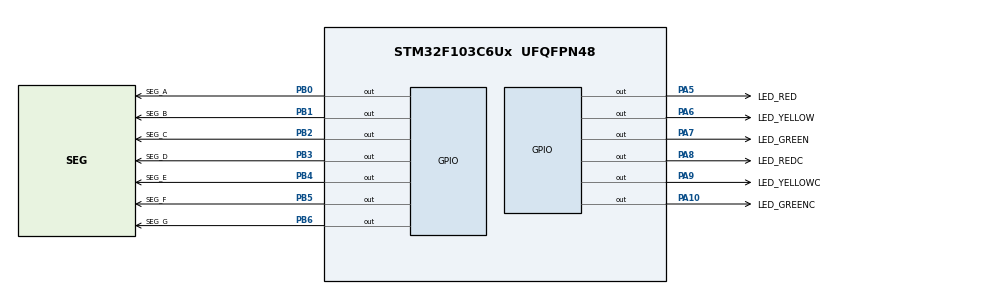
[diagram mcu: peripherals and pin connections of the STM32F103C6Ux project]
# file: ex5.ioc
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Mcu.Family=STM32F1
Mcu.Name=STM32F103C6Ux
Mcu.Package=UFQFPN48
NVIC.PriorityGroup=NVIC_PRIORITYGROUP_4
PA10.GPIO_Label=LED_GREENC
PA10.Signal=GPIO_Output
PA5.GPIO_Label=LED_RED
PA5.Signal=GPIO_Output
PA6.GPIO_Label=LED_YELLOW
PA6.Signal=GPIO_Output
PA7.GPIO_Label=LED_GREEN
PA7.Signal=GPIO_Output
PA8.GPIO_Label=LED_REDC
PA8.Signal=GPIO_Output
PA9.GPIO_Label=LED_YELLOWC
PA9.Signal=GPIO_Output
PB0.GPIO_Label=SEG_A
PB0.Signal=GPIO_Output
PB1.GPIO_Label=SEG_B
PB1.Signal=GPIO_Output
PB2.GPIO_Label=SEG_C
PB2.Signal=GPIO_Output
PB3.GPIO_Label=SEG_D
PB3.Signal=GPIO_Output
PB4.GPIO_Label=SEG_E
PB4.Signal=GPIO_Output
PB5.GPIO_Label=SEG_F
PB5.Signal=GPIO_Output
PB6.GPIO_Label=SEG_G
PB6.Signal=GPIO_Output
ProjectManager.HeapSize=0x200
ProjectManager.StackSize=0x400
ProjectManager.TargetToolchain=STM32CubeIDE
RCC.APB1Freq_Value=8000000
RCC.APB2Freq_Value=8000000
VP_SYS_VS_ND.Mode=No_Debug
board=custom

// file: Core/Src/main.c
/* USER CODE BEGIN Header */
/**
  ******************************************************************************
  * @file           : main.c
  * @brief          : Main program body
  ******************************************************************************
  * @attention
  *
  * <h2><center>&copy; Copyright (c) 2022 STMicroelectronics.
  * All rights reserved.</center></h2>
  *
  * This software component is licensed by ST under BSD 3-Clause license,
  * the "License"; You may not use this file except in compliance with the
  * License. You may obtain a copy of the License at:
  *                        opensource.org/licenses/BSD-3-Clause
  *
  ******************************************************************************
  */
/* USER CODE END Header */
#include "main.h"

void SystemClock_Config(void);
static void MX_GPIO_Init(void);

/* USER CODE BEGIN 0 */
void display7SEG(int num) {
	//num is the time displayed on the 7-segment led
	if (num == 0)
			{
		HAL_GPIO_WritePin(SEG_A_GPIO_Port, SEG_A_Pin, RESET);
		HAL_GPIO_WritePin(SEG_B_GPIO_Port, SEG_B_Pin, RESET);
		HAL_GPIO_WritePin(SEG_C_GPIO_Port, SEG_C_Pin, RESET);
		HAL_GPIO_WritePin(SEG_D_GPIO_Port, SEG_D_Pin, RESET);
		HAL_GPIO_WritePin(SEG_E_GPIO_Port, SEG_E_Pin, RESET);
		HAL_GPIO_WritePin(SEG_F_GPIO_Port, SEG_F_Pin, RESET);
		HAL_GPIO_WritePin(SEG_G_GPIO_Port, SEG_G_Pin, SET);
	}
	if (num == 1) {
		HAL_GPIO_WritePin(SEG_A_GPIO_Port, SEG_A_Pin, SET);
		HAL_GPIO_WritePin(SEG_B_GPIO_Port, SEG_B_Pin, RESET);
		HAL_GPIO_WritePin(SEG_C_GPIO_Port, SEG_C_Pin, RESET);
		HAL_GPIO_WritePin(SEG_D_GPIO_Port, SEG_D_Pin, SET);
		HAL_GPIO_WritePin(SEG_E_GPIO_Port, SEG_E_Pin, SET);
		HAL_GPIO_WritePin(SEG_F_GPIO_Port, SEG_F_Pin, SET);
		HAL_GPIO_WritePin(SEG_G_GPIO_Port, SEG_G_Pin, SET);
	}
	if (num == 2) {
		HAL_GPIO_WritePin(SEG_A_GPIO_Port, SEG_A_Pin, RESET);
		HAL_GPIO_WritePin(SEG_B_GPIO_Port, SEG_B_Pin, RESET);
		HAL_GPIO_WritePin(SEG_C_GPIO_Port, SEG_C_Pin, SET);
		HAL_GPIO_WritePin(SEG_D_GPIO_Port, SEG_D_Pin, RESET);
		HAL_GPIO_WritePin(SEG_E_GPIO_Port, SEG_E_Pin, RESET);
		HAL_GPIO_WritePin(SEG_F_GPIO_Port, SEG_F_Pin, SET);
		HAL_GPIO_WritePin(SEG_G_GPIO_Port, SEG_G_Pin, RESET);
	}
	if (num == 3) {
		HAL_GPIO_WritePin(SEG_A_GPIO_Port, SEG_A_Pin, RESET);
		HAL_GPIO_WritePin(SEG_B_GPIO_Port, SEG_B_Pin, RESET);
		HAL_GPIO_WritePin(SEG_C_GPIO_Port, SEG_C_Pin, RESET);
		HAL_GPIO_WritePin(SEG_D_GPIO_Port, SEG_D_Pin, RESET);
		HAL_GPIO_WritePin(SEG_E_GPIO_Port, SEG_E_Pin, SET);
		HAL_GPIO_WritePin(SEG_F_GPIO_Port, SEG_F_Pin, SET);
		HAL_GPIO_WritePin(SEG_G_GPIO_Port, SEG_G_Pin, RESET);
	}
	if (num == 4) {
		HAL_GPIO_WritePin(SEG_A_GPIO_Port, SEG_A_Pin, SET);
		HAL_GPIO_WritePin(SEG_B_GPIO_Port, SEG_B_Pin, RESET);
		HAL_GPIO_WritePin(SEG_C_GPIO_Port, SEG_C_Pin, RESET);
		HAL_GPIO_WritePin(SEG_D_GPIO_Port, SEG_D_Pin, SET);
		HAL_GPIO_WritePin(SEG_E_GPIO_Port, SEG_E_Pin, SET);
		HAL_GPIO_WritePin(SEG_F_GPIO_Port, SEG_F_Pin, RESET);
		HAL_GPIO_WritePin(SEG_G_GPIO_Port, SEG_G_Pin, RESET);
	}
	if (num == 5) {
		HAL_GPIO_WritePin(SEG_A_GPIO_Port, SEG_A_Pin, RESET);
		HAL_GPIO_WritePin(SEG_B_GPIO_Port, SEG_B_Pin, SET);
		HAL_GPIO_WritePin(SEG_C_GPIO_Port, SEG_C_Pin, RESET);
		HAL_GPIO_WritePin(SEG_D_GPIO_Port, SEG_D_Pin, RESET);
		HAL_GPIO_WritePin(SEG_E_GPIO_Port, SEG_E_Pin, SET);
		HAL_GPIO_WritePin(SEG_F_GPIO_Port, SEG_F_Pin, RESET);
		HAL_GPIO_WritePin(SEG_G_GPIO_Port, SEG_G_Pin, RESET);
	}
	if (num == 6) {
		HAL_GPIO_WritePin(SEG_A_GPIO_Port, SEG_A_Pin, RESET);
		HAL_GPIO_WritePin(SEG_B_GPIO_Port, SEG_B_Pin, SET);
		HAL_GPIO_WritePin(SEG_C_GPIO_Port, SEG_C_Pin, RESET);
		HAL_GPIO_WritePin(SEG_D_GPIO_Port, SEG_D_Pin, RESET);
		HAL_GPIO_WritePin(SEG_E_GPIO_Port, SEG_E_Pin, RESET);
		HAL_GPIO_WritePin(SEG_F_GPIO_Port, SEG_F_Pin, RESET);
		HAL_GPIO_WritePin(SEG_G_GPIO_Port, SEG_G_Pin, RESET);
	}
	if (num == 7) {
		HAL_GPIO_WritePin(SEG_A_GPIO_Port, SEG_A_Pin, RESET);
		HAL_GPIO_WritePin(SEG_B_GPIO_Port, SEG_B_Pin, RESET);
		HAL_GPIO_WritePin(SEG_C_GPIO_Port, SEG_C_Pin, RESET);
		HAL_GPIO_WritePin(SEG_D_GPIO_Port, SEG_D_Pin, SET);
		HAL_GPIO_WritePin(SEG_E_GPIO_Port, SEG_E_Pin, SET);
		HAL_GPIO_WritePin(SEG_F_GPIO_Port, SEG_F_Pin, SET);
		HAL_GPIO_WritePin(SEG_G_GPIO_Port, SEG_G_Pin, SET);
	}
	if (num == 8) {
		HAL_GPIO_WritePin(SEG_A_GPIO_Port, SEG_A_Pin, RESET);
		HAL_GPIO_WritePin(SEG_B_GPIO_Port, SEG_B_Pin, RESET);
		HAL_GPIO_WritePin(SEG_C_GPIO_Port, SEG_C_Pin, RESET);
		HAL_GPIO_WritePin(SEG_D_GPIO_Port, SEG_D_Pin, RESET);
		HAL_GPIO_WritePin(SEG_E_GPIO_Port, SEG_E_Pin, RESET);
		HAL_GPIO_WritePin(SEG_F_GPIO_Port, SEG_F_Pin, RESET);
		HAL_GPIO_WritePin(SEG_G_GPIO_Port, SEG_G_Pin, RESET);
	}
	if (num == 9) {
		HAL_GPIO_WritePin(SEG_A_GPIO_Port, SEG_A_Pin, RESET);
		HAL_GPIO_WritePin(SEG_B_GPIO_Port, SEG_B_Pin, RESET);
		HAL_GPIO_WritePin(SEG_C_GPIO_Port, SEG_C_Pin, RESET);
		HAL_GPIO_WritePin(SEG_D_GPIO_Port, SEG_D_Pin, RESET);
		HAL_GPIO_WritePin(SEG_E_GPIO_Port, SEG_E_Pin, SET);
		HAL_GPIO_WritePin(SEG_F_GPIO_Port, SEG_F_Pin, RESET);
		HAL_GPIO_WritePin(SEG_G_GPIO_Port, SEG_G_Pin, RESET);
	}
}
/* USER CODE END 0 */

int main(void)
{

  /* MCU Configuration--------------------------------------------------------*/

  /* Reset of all peripherals, Initializes the Flash interface and the Systick. */
  HAL_Init();

  /* Configure the system clock */
  SystemClock_Config();

  /* Initialize all configured peripherals */
  MX_GPIO_Init();

  /* Infinite loop */
  /* USER CODE BEGIN WHILE */
  int count1 = 0;
   int count2 = 0;
   	while (1) {
   		//RED ON, YELLOW OFF, GREEN OFF (INITIAL STATE)
   		//DISPLAY NUMBER EVERY SECOND BY EITHER COUNT1 OR COUNT2
   		display7SEG(count1);
   		if (count1 == 0)
   		{
   			HAL_GPIO_WritePin(LED_RED_GPIO_Port, LED_RED_Pin, SET);
   			HAL_GPIO_WritePin(LED_YELLOW_GPIO_Port, LED_YELLOW_Pin, RESET);
   			HAL_GPIO_WritePin(LED_GREEN_GPIO_Port, LED_GREEN_Pin, RESET);
   		}
   		//GREEN ON, YELLOW OFF, GREEN OFF
   		if (count1 == 5)
   		{
   			HAL_GPIO_TogglePin(LED_RED_GPIO_Port, LED_RED_Pin);
   			HAL_GPIO_TogglePin(LED_GREEN_GPIO_Port, LED_GREEN_Pin);
   		}
   		//YELLOW ON, GREEN OFF, RED OFF
   		if (count1 == 8)
   		{
   			HAL_GPIO_TogglePin(LED_GREEN_GPIO_Port, LED_GREEN_Pin);
   			HAL_GPIO_TogglePin(LED_YELLOW_GPIO_Port, LED_YELLOW_Pin);
   		}
   		//RED ON, YELLOW OFF, GREEN OFF
   		if (count1 == 10)
   		{
   			HAL_GPIO_TogglePin(LED_YELLOW_GPIO_Port, LED_YELLOW_Pin);
   			HAL_GPIO_TogglePin(LED_RED_GPIO_Port, LED_RED_Pin);
   			count1 = 0;
   		}
   		count1++;
   		//CROSSROAD
   		//RED OFF, YELLOW OFF, GREEN ON
   		if (count2 == 0)
   		{
   		  	HAL_GPIO_WritePin(LED_REDC_GPIO_Port, LED_REDC_Pin, RESET);
   		  	HAL_GPIO_WritePin(LED_YELLOWC_GPIO_Port, LED_YELLOWC_Pin, RESET);
   		  	HAL_GPIO_WritePin(LED_GREENC_GPIO_Port, LED_GREENC_Pin, SET);
   		}
   		//YELLOW ON, GREEN OFF, RED OFF
   		if (count2 == 3)
   		{
   		  	HAL_GPIO_TogglePin(LED_GREENC_GPIO_Port, LED_GREENC_Pin);
   		  	HAL_GPIO_TogglePin(LED_YELLOWC_GPIO_Port, LED_YELLOWC_Pin);
   		}
   		//YELLOW OFF, GREEN OFF, RED ON
   		if (count2 == 5)
   		{
   		  	HAL_GPIO_TogglePin(LED_YELLOWC_GPIO_Port, LED_YELLOWC_Pin);
   		  	HAL_GPIO_TogglePin(LED_REDC_GPIO_Port, LED_REDC_Pin);
   		}
   		//RED OFF, YELLOW OFF, GREEN ON
   		if (count2 == 10)
   		{
   		  	HAL_GPIO_TogglePin(LED_REDC_GPIO_Port, LED_REDC_Pin);
   		  	HAL_GPIO_TogglePin(LED_GREENC_GPIO_Port, LED_GREENC_Pin);
   		  	count2 = 0;
   		}
   		count2++;

   		HAL_Delay(1000);
   		/* USER CODE END WHILE */

   	}
   }

void SystemClock_Config(void)
{
  RCC_OscInitTypeDef RCC_OscInitStruct = {0};
  RCC_ClkInitTypeDef RCC_ClkInitStruct = {0};

  /** Initializes the RCC Oscillators according to the specified parameters
  * in the RCC_OscInitTypeDef structure.
  */
  RCC_OscInitStruct.OscillatorType = RCC_OSCILLATORTYPE_HSI;
  RCC_OscInitStruct.HSIState = RCC_HSI_ON;
  RCC_OscInitStruct.HSICalibrationValue = RCC_HSICALIBRATION_DEFAULT;
  RCC_OscInitStruct.PLL.PLLState = RCC_PLL_NONE;
  if (HAL_RCC_OscConfig(&RCC_OscInitStruct) != HAL_OK)
  {
    Error_Handler();
  }
  /** Initializes the CPU, AHB and APB buses clocks
  */
  RCC_ClkInitStruct.ClockType = RCC_CLOCKTYPE_HCLK|RCC_CLOCKTYPE_SYSCLK
                              |RCC_CLOCKTYPE_PCLK1|RCC_CLOCKTYPE_PCLK2;
  RCC_ClkInitStruct.SYSCLKSource = RCC_SYSCLKSOURCE_HSI;
  RCC_ClkInitStruct.AHBCLKDivider = RCC_SYSCLK_DIV1;
  RCC_ClkInitStruct.APB1CLKDivider = RCC_HCLK_DIV1;
  RCC_ClkInitStruct.APB2CLKDivider = RCC_HCLK_DIV1;

  if (HAL_RCC_ClockConfig(&RCC_ClkInitStruct, FLASH_LATENCY_0) != HAL_OK)
  {
    Error_Handler();
  }
}

static void MX_GPIO_Init(void)
{
  GPIO_InitTypeDef GPIO_InitStruct = {0};

  /* GPIO Ports Clock Enable */
  __HAL_RCC_GPIOA_CLK_ENABLE();
  __HAL_RCC_GPIOB_CLK_ENABLE();

  /*Configure GPIO pin Output Level */
  HAL_GPIO_WritePin(GPIOA, LED_RED_Pin|LED_YELLOW_Pin|LED_GREEN_Pin|LED_REDC_Pin
                          |LED_YELLOWC_Pin|LED_GREENC_Pin, GPIO_PIN_RESET);

  /*Configure GPIO pin Output Level */
  HAL_GPIO_WritePin(GPIOB, SEG_A_Pin|SEG_B_Pin|SEG_C_Pin|SEG_D_Pin
                          |SEG_E_Pin|SEG_F_Pin|SEG_G_Pin, GPIO_PIN_RESET);

  /*Configure GPIO pins : LED_RED_Pin LED_YELLOW_Pin LED_GREEN_Pin LED_REDC_Pin
                           LED_YELLOWC_Pin LED_GREENC_Pin */
  GPIO_InitStruct.Pin = LED_RED_Pin|LED_YELLOW_Pin|LED_GREEN_Pin|LED_REDC_Pin
                          |LED_YELLOWC_Pin|LED_GREENC_Pin;
  GPIO_InitStruct.Mode = GPIO_MODE_OUTPUT_PP;
  GPIO_InitStruct.Pull = GPIO_NOPULL;
  GPIO_InitStruct.Speed = GPIO_SPEED_FREQ_LOW;
  HAL_GPIO_Init(GPIOA, &GPIO_InitStruct);

  /*Configure GPIO pins : SEG_A_Pin SEG_B_Pin SEG_C_Pin SEG_D_Pin
                           SEG_E_Pin SEG_F_Pin SEG_G_Pin */
  GPIO_InitStruct.Pin = SEG_A_Pin|SEG_B_Pin|SEG_C_Pin|SEG_D_Pin
                          |SEG_E_Pin|SEG_F_Pin|SEG_G_Pin;
  GPIO_InitStruct.Mode = GPIO_MODE_OUTPUT_PP;
  GPIO_InitStruct.Pull = GPIO_NOPULL;
  GPIO_InitStruct.Speed = GPIO_SPEED_FREQ_LOW;
  HAL_GPIO_Init(GPIOB, &GPIO_InitStruct);

}

void Error_Handler(void)
{
  __disable_irq();
  while (1)
  {
  }
}

/************************ (C) COPYRIGHT STMicroelectronics *****END OF FILE****/
